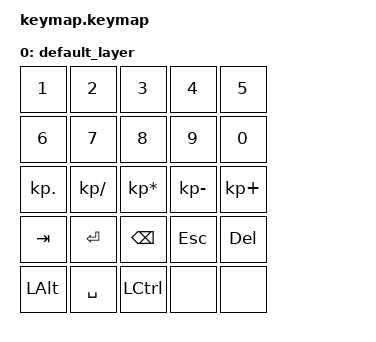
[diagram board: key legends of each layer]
/ {
    keymap {
        compatible = "zmk,keymap";

        default_layer {
            bindings = <
                &kp N1        &kp N2        &kp N3        &kp N4        &kp N5
                &kp N6        &kp N7        &kp N8        &kp N9        &kp N0
                &kp KP_DOT    &kp KP_SLASH  &kp KP_ASTERISK &kp KP_MINUS   &kp KP_PLUS
                &kp TAB       &kp ENTER     &kp BACKSPACE  &kp ESCAPE     &kp DELETE
                &kp LEFT_ALT  &kp SPACE     &kp LEFT_CONTROL &none         &none
            >;
        };
    };
};
